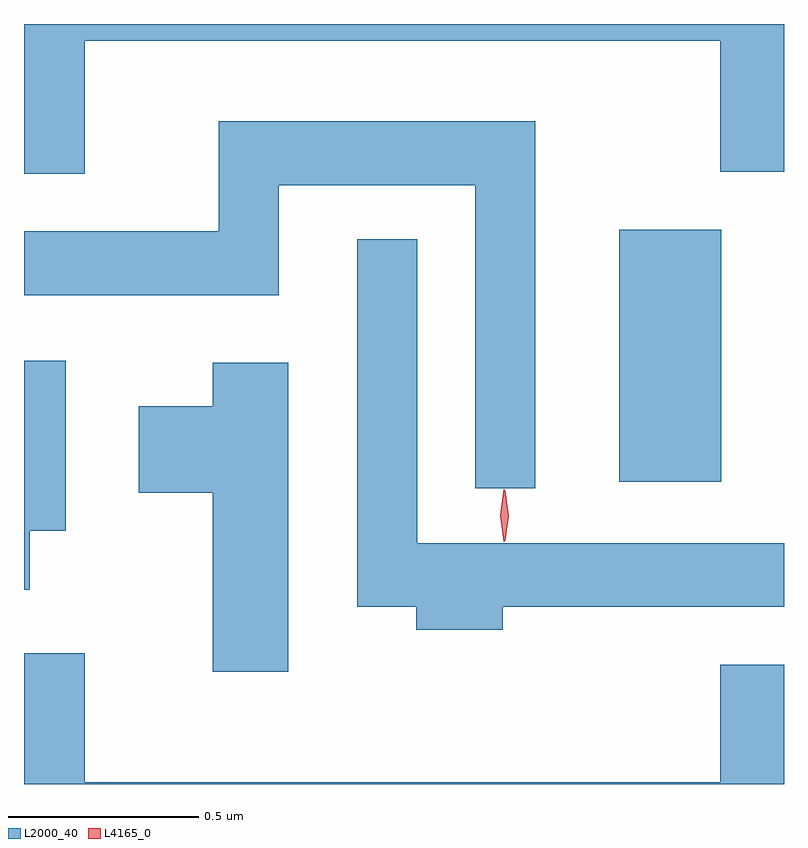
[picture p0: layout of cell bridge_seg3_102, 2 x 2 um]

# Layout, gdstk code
import gdstk
lib = gdstk.Library(unit=1e-6, precision=1e-09)
def R(c, l, rs):  # rectangles x0, y0, x1, y1
    for r in rs: c.add(gdstk.rectangle(r[:2], r[2:], *l))
def P(c, l, *ps):  # polygons
    for p in ps: c.add(gdstk.Polygon(p, *l))
L2000_40 = (2000, 40)
L4165_0 = (4165, 0)

bridge_seg3_102 = lib.new_cell('bridge_seg3_102')
R(bridge_seg3_102, L2000_40, [(1031.476,1251.396,1031.744,1252.059)])
P(bridge_seg3_102, L2000_40, [(1030.069,1252.556),(1031.741,1252.556),(1031.741,1252.211),(1031.909,1252.211),(1031.909,1252.6),(1029.909,1252.6),(1029.909,1252.206),(1030.069,1252.206)],
  [(1031.254,1252.344),(1030.421,1252.344),(1030.421,1252.054),(1029.909,1252.054),(1029.909,1251.886),(1030.579,1251.886),(1030.579,1252.176),(1031.096,1252.176),(1031.096,1251.378),(1031.254,1251.378)],
  [(1031.169,1251.066),(1031.909,1251.066),(1031.909,1251.234),(1030.944,1251.234),(1030.944,1252.033),(1030.786,1252.033),(1030.786,1251.066),(1030.941,1251.066),(1030.941,1251.006),(1031.169,1251.006)],
  [(1029.924,1251.266),(1030.019,1251.266),(1030.019,1251.714),(1029.909,1251.714),(1029.909,1251.111),(1029.924,1251.111)],
  [(1030.604,1251.709),(1030.406,1251.709),(1030.406,1251.594),(1030.211,1251.594),(1030.211,1251.366),(1030.406,1251.366),(1030.406,1250.896),(1030.604,1250.896)],
  [(1031.909,1250.914),(1031.741,1250.914),(1031.741,1250.604),(1030.069,1250.604),(1030.069,1250.944),(1029.909,1250.944),(1029.909,1250.6),(1031.909,1250.6)])
P(bridge_seg3_102, L4165_0, [(1031.174,1251.24),(1031.165,1251.306),(1031.174,1251.372),(1031.175,1251.373),(1031.175,1251.372),(1031.185,1251.306),(1031.175,1251.24),(1031.175,1251.24)],
  [(1031.172,1251.237),(1031.172,1251.237),(1031.162,1251.307),(1031.172,1251.376),(1031.172,1251.376),(1031.173,1251.376),(1031.182,1251.307),(1031.173,1251.237)])

lib.write_gds('bridge_seg3_102.gds')
